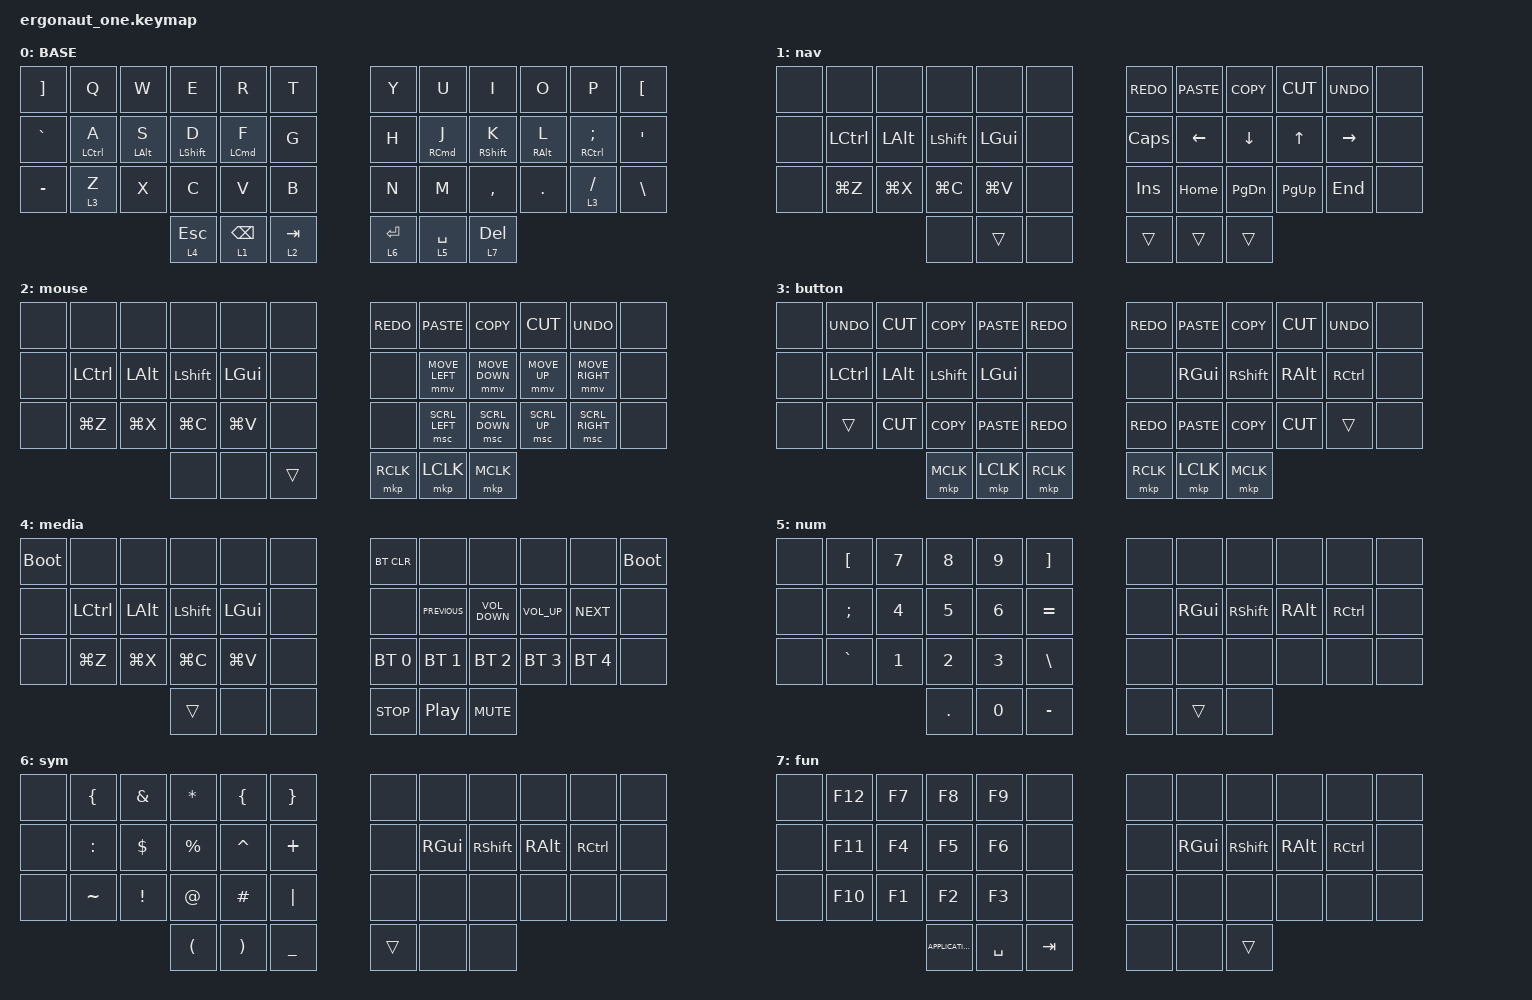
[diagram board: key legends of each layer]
#include <behaviors.dtsi>
#include <dt-bindings/zmk/bt.h>
#include <dt-bindings/zmk/keys.h>
#include <dt-bindings/zmk/pointing.h>

#define DEF 0
#define LWR 1
#define RSE 2
#define ADJ 3

&lt { quick-tap-ms = <200>; };

&mt { quick-tap-ms = <200>; };

/ {
    conditional_layers { compatible = "zmk,conditional-layers"; };

    keymap {
        compatible = "zmk,keymap";

        default_layer {
            display-name = "BASE";
            bindings = <
&kp RBKT   &kp Q        &kp W           &kp E             &kp R               &kp T      &kp Y        &kp U                &kp I              &kp O            &kp P                        &kp LEFT_BRACKET
&kp GRAVE  &mt LCTRL A  &mt LEFT_ALT S  &mt LEFT_SHIFT D  &mt LEFT_COMMAND F  &kp G      &kp H        &mt RIGHT_COMMAND J  &mt RIGHT_SHIFT K  &mt RIGHT_ALT L  &mt RIGHT_CONTROL SEMICOLON  &kp SQT
&kp MINUS  &lt 3 Z      &kp X           &kp C             &kp V               &kp B      &kp N        &kp M                &kp COMMA          &kp DOT          &lt 3 SLASH                  &kp BSLH
                                        &lt 4 ESCAPE      &lt 1 BACKSPACE     &lt 2 TAB  &lt 6 ENTER  &lt 5 SPACE          &lt 7 DEL
            >;
        };

        nav {
            bindings = <
&none  &none      &none      &none      &none      &none  &kp K_REDO  &kp K_PASTE  &kp K_COPY  &kp K_CUT  &kp K_UNDO  &none
&none  &kp LCTRL  &kp LALT   &kp LSHFT  &kp LGUI   &none  &kp CAPS    &kp LEFT     &kp DOWN    &kp UP     &kp RIGHT   &none
&none  &kp LG(Z)  &kp LG(X)  &kp LG(C)  &kp LG(V)  &none  &kp INS     &kp HOME     &kp PG_DN   &kp PG_UP  &kp END     &none
                             &none      &trans     &none  &trans      &trans       &trans
            >;
        };

        mouse {
            bindings = <
&none  &none      &none      &none      &none      &none   &kp K_REDO  &kp K_PASTE     &kp K_COPY      &kp K_CUT     &kp K_UNDO       &none
&none  &kp LCTRL  &kp LALT   &kp LSHFT  &kp LGUI   &none   &none       &mmv MOVE_LEFT  &mmv MOVE_DOWN  &mmv MOVE_UP  &mmv MOVE_RIGHT  &none
&none  &kp LG(Z)  &kp LG(X)  &kp LG(C)  &kp LG(V)  &none   &none       &msc SCRL_LEFT  &msc SCRL_DOWN  &msc SCRL_UP  &msc SCRL_RIGHT  &none
                             &none      &none      &trans  &mkp RCLK   &mkp LCLK       &mkp MCLK
            >;
        };

        button {
            bindings = <
&none  &kp K_UNDO  &kp K_CUT  &kp K_COPY  &kp K_PASTE  &kp K_REDO  &kp K_REDO  &kp K_PASTE  &kp K_COPY  &kp K_CUT  &kp K_UNDO  &none
&none  &kp LCTRL   &kp LALT   &kp LSHFT   &kp LGUI     &none       &none       &kp RGUI     &kp RSHFT   &kp RALT   &kp RCTRL   &none
&none  &trans      &kp K_CUT  &kp K_COPY  &kp K_PASTE  &kp K_REDO  &kp K_REDO  &kp K_PASTE  &kp K_COPY  &kp K_CUT  &trans      &none
                              &mkp MCLK   &mkp LCLK    &mkp RCLK   &mkp RCLK   &mkp LCLK    &mkp MCLK
            >;
        };

        media {
            bindings = <
&bootloader  &none      &none      &none      &none      &none  &bt BT_CLR    &none             &none              &none            &none         &bootloader
&none        &kp LCTRL  &kp LALT   &kp LSHFT  &kp LGUI   &none  &none         &kp K_PREVIOUS    &kp C_VOLUME_DOWN  &kp C_VOLUME_UP  &kp K_NEXT    &none
&none        &kp LG(Z)  &kp LG(X)  &kp LG(C)  &kp LG(V)  &none  &bt BT_SEL 0  &bt BT_SEL 1      &bt BT_SEL 2       &bt BT_SEL 3     &bt BT_SEL 4  &none
                                   &trans     &none      &none  &kp K_STOP    &kp C_PLAY_PAUSE  &kp K_MUTE
            >;
        };

        num {
            bindings = <
&none  &kp LBKT   &kp N7  &kp N8   &kp N9  &kp RBKT   &none  &none     &none      &none     &none      &none
&none  &kp SEMI   &kp N4  &kp N5   &kp N6  &kp EQUAL  &none  &kp RGUI  &kp RSHFT  &kp RALT  &kp RCTRL  &none
&none  &kp GRAVE  &kp N1  &kp N2   &kp N3  &kp BSLH   &none  &none     &none      &none     &none      &none
                          &kp DOT  &kp N0  &kp MINUS  &none  &trans    &none
            >;
        };

        sym {
            bindings = <
&none  &kp LEFT_BRACE  &kp AMPERSAND    &kp ASTERISK          &kp LEFT_BRACE         &kp RIGHT_BRACE  &none   &none     &none      &none     &none      &none
&none  &kp COLON       &kp DOLLAR       &kp PERCENT           &kp CARET              &kp PLUS         &none   &kp RGUI  &kp RSHFT  &kp RALT  &kp RCTRL  &none
&none  &kp TILDE       &kp EXCLAMATION  &kp AT_SIGN           &kp HASH               &kp PIPE         &none   &none     &none      &none     &none      &none
                                        &kp LEFT_PARENTHESIS  &kp RIGHT_PARENTHESIS  &kp UNDERSCORE   &trans  &none     &none
            >;
        };

        fun {
            bindings = <
&none  &kp F12  &kp F7  &kp F8             &kp F9     &none    &none  &none     &none      &none     &none      &none
&none  &kp F11  &kp F4  &kp F5             &kp F6     &none    &none  &kp RGUI  &kp RSHFT  &kp RALT  &kp RCTRL  &none
&none  &kp F10  &kp F1  &kp F2             &kp F3     &none    &none  &none     &none      &none     &none      &none
                        &kp K_APPLICATION  &kp SPACE  &kp TAB  &none  &none     &trans
            >;
        };
    };
};
